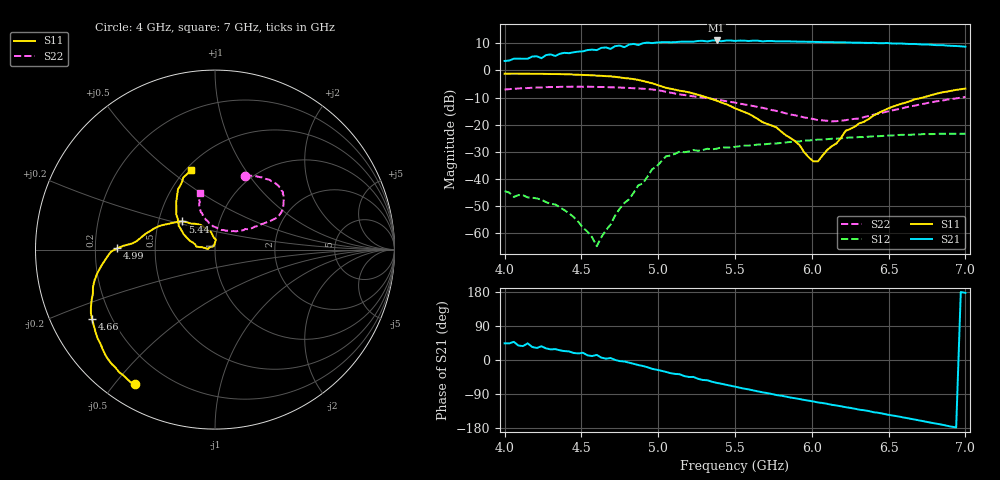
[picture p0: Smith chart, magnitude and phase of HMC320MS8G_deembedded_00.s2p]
!Hittite Microwave Corporation
!12 Elizabeth Drive
!Chelmsford, MA 01824
!Tel: 978-250-3343
!Fax: 978-250-3373
!Device: HMC320MS8G, 5-6 GHz LNA in 8-lead Grounded Base Surface Mount Plastic Package
!Misc: Room Temp Idd=7mA, VSET=0V , DEEMBEDDED TO THE PINS OF THE DEVICE
# MHZ S MA R 50
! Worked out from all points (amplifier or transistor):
!   101 points, 4 GHz to 7 GHz, reference 50 ohm
!   highest |S21| = 11.1 dB at 5.38 GHz (marker M1)
!   |S21| within 3 dB of that: 4.693 GHz to end of sweep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
!   unconditionally stable (mu >= 1): start of sweep to end of sweep
!   at 4.48 GHz: K = 32.26, MAG = 13.3 dB, |S12| = -55.8 dB
!   at 5.5 GHz: K = 3.30, MAG = 11.4 dB, |S12| = -28.2 dB
!   at 7 GHz: K = 2.10, MAG = 10.1 dB, |S12| = -23.3 dB
!   S11 on the Smith chart (normalised r, x): 4 GHz: 0.09, -0.57; 4.66 GHz: 0.13, -0.26; 4.99 GHz: 0.29, +0.01; 5.44 GHz: 0.66, +0.22; 7 GHz: 0.53, +0.60
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4000  0.872 -120.6  1.497 44.1  0.005928 136.1  0.445 68.0
4060  0.876 -122.4  1.65 47.9  0.004641 123.9  0.459 63.7
4240  0.867 -128.0  1.684 36.3  0.004121 115.0  0.485 54.2
4300  0.859 -130.8  1.977 28.0  0.00347 131.4  0.494 51.3
4330  0.859 -132.0  1.85 28.7  0.003366 119.9  0.494 50.4
4510  0.825 -140.8  2.252 19.1  0.001253 110.0  0.5 44.0
4600  0.804 -146.4  2.373 13.4  0.0005732 44.8  0.496 41.6
4660  0.786 -150.6  2.656 3.5  0.001131 -9.9  0.494 39.9
4690  0.777 -152.9  2.498 5.2  0.001437 -21.1  0.489 39.5
4750  0.744 -157.6  2.873 -2.9  0.002834 -23.0  0.484 37.7
4780  0.723 -160.2  2.685 -4.0  0.003589 -22.6  0.479 37.2
4840  0.692 -165.8  3.09 -10.1  0.005529 -24.6  0.47 35.5
4990  0.545 179.2  3.273 -25.7  0.017 -36.1  0.435 30.4
5020  0.511 177.6  3.319 -28.4  0.021 -44.1  0.421 29.1
5380  0.277 147.3  3.575 -60.3  0.036 -109.2  0.29 28.7
5440  0.24 139.2  3.556 -65.2  0.038 -115.3  0.272 29.0
5500  0.2 133.3  3.504 -70.3  0.039 -118.2  0.255 30.0
5740  0.096 101.8  3.498 -89.7  0.045 -131.0  0.186 35.0
6010  0.021 112.8  3.367 -109.5  0.052 -142.6  0.127 56.3
6520  0.211 150.8  3.15 -146.0  0.063 -160.7  0.182 107.7
6760  0.339 129.7  3.013 -164.2  0.067 -169.8  0.253 109.7
7000  0.464 106.7  2.746 177.1  0.068 -178.8  0.324 104.6
